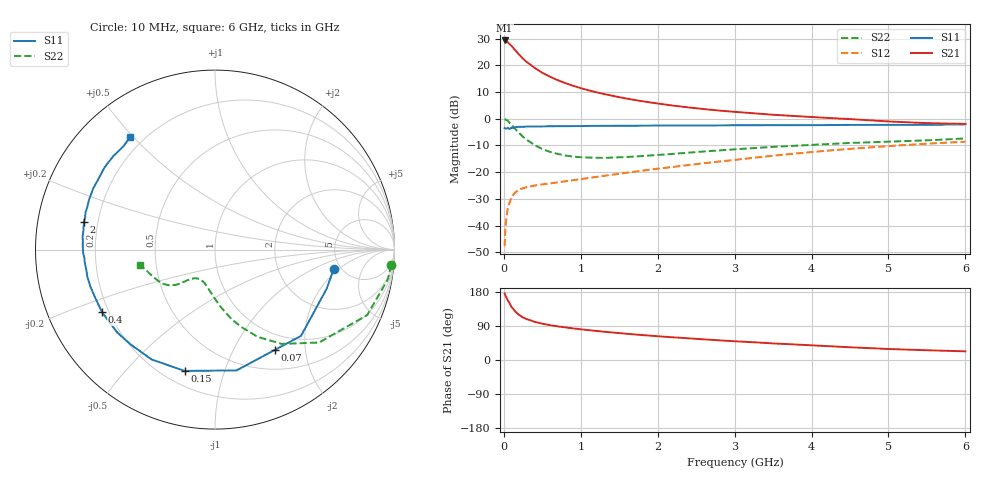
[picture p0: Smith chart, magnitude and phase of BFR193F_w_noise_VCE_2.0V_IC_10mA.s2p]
! (c) 2017  Infineon Technologies AG, Munich
! Infineon Technologies  Discrete & RF Semiconductors
! BFR193F
! VCE =  2.0 V,  IC =  10 mA
! Common Emitter S-Parameters:  Jan 2017
# GHz  S  MA  R  50
!  f  S11  S21  S12  S22
! GHz  MAG  ANG  MAG  ANG  MAG  ANG  MAG  ANG
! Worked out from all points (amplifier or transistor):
!   77 points, 10 MHz to 6 GHz, reference 50 ohm
!   highest |S21| = 29.4 dB at 10 MHz (marker M1)
!   |S21| within 3 dB of that: start of sweep to 128.2 MHz
!   unconditionally stable (mu >= 1): 1.517 GHz to 2.994 GHz
!   at 130 MHz: K = 0.18, MSG = 27.3 dB, |S12| = -28.3 dB
!   at 2.2 GHz: K = 1.06, MAG = 10.0 dB, |S12| = -18.0 dB
!   at 6 GHz: K = 0.84, MSG = 3.3 dB, |S12| = -8.6 dB
!   lowest NFmin = 0.87 dB at 450 MHz
!   S11 on the Smith chart (normalised r, x): 10 MHz: 4.39, -1.70; 70 MHz: 0.77, -1.48; 150 MHz: 0.28, -0.74; 400 MHz: 0.17, -0.25; 2 GHz: 0.15, +0.10; 6 GHz: 0.15, +0.49
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0.01  0.6709 -9.1  29.35 175.8  0.0041 88.9  0.9858 -5.0
0.02  0.659 -19.5  29.03 170.7  0.0084 84.7  0.9774 -9.7
0.05  0.6787 -45.1  27.47 157.7  0.0205 71.5  0.923 -23.3
0.07  0.6509 -59.0  25.49 151.3  0.0256 63.5  0.8543 -29.9
0.1  0.6839 -79.9  23.25 139.8  0.0338 56.2  0.7772 -41.8
0.15  0.6968 -104.1  19.08 127.4  0.0419 47.8  0.6429 -54.8
0.2  0.7067 -120.0  15.85 118.6  0.0473 42.8  0.5405 -64.0
0.25  0.7071 -131.5  13.34 112.3  0.0501 39.5  0.4583 -70.9
0.3  0.7143 -139.7  11.52 107.6  0.0524 38.1  0.4009 -76.4
0.4  0.7196 -151.1  8.939 100.6  0.056 36.8  0.3204 -84.4
0.5  0.7194 -158.2  7.276 95.8  0.0589 37.7  0.2711 -90.5
0.6  0.7244 -163.5  6.133 91.9  0.0614 39.0  0.2399 -95.5
0.7  0.727 -167.9  5.297 88.7  0.0644 41.1  0.2197 -99.9
0.9  0.7291 -174.1  4.156 83.4  0.0706 45.4  0.1951 -107.4
1.1  0.7346 -178.6  3.422 78.8  0.0779 48.9  0.1879 -113.3
1.5  0.741 174.7  2.541 71.0  0.0932 55.4  0.1899 -122.2
2  0.7471 168.1  1.932 62.7  0.1159 60.7  0.2099 -129.2
2.1  0.7461 167.1  1.848 61.3  0.1206 61.6  0.2149 -129.9
3.1  0.7554 157.2  1.316 48.4  0.1759 66.6  0.2734 -136.0
4.1  0.7607 147.4  1.06 37.7  0.2448 65.9  0.3294 -143.3
5.1  0.7687 136.2  0.878 28.4  0.3143 61.4  0.3768 -156.5
6  0.7859 126.9  0.803 22.8  0.3719 56.1  0.4279 -168.8
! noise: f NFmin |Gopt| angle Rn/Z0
0.45  0.87  0.25  139  0.07
0.9  1  0.38  152  0.07
1.9  1.7  0.59  -176  0.06
2.4  2.05  0.63  -165  0.08
